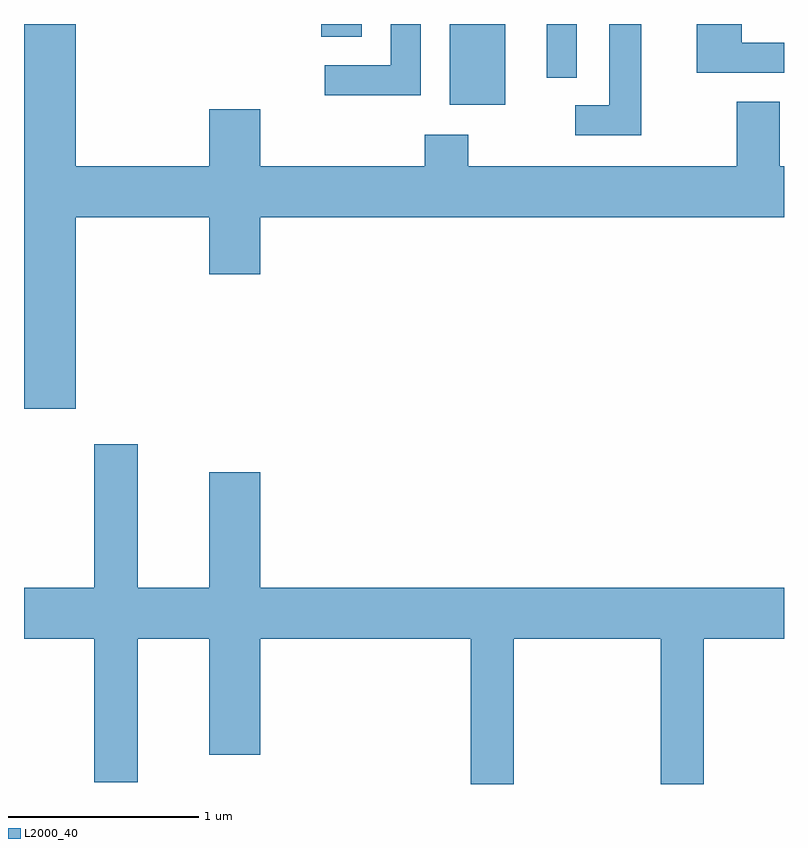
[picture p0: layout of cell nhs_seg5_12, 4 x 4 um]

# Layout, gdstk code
import gdstk
lib = gdstk.Library(unit=1e-6, precision=1e-09)
def R(c, l, rs):  # rectangles x0, y0, x1, y1
    for r in rs: c.add(gdstk.rectangle(r[:2], r[2:], *l))
def P(c, l, *ps):  # polygons
    for p in ps: c.add(gdstk.Polygon(p, *l))
L2000_40 = (2000, 40)

nhs_seg5_12 = lib.new_cell('nhs_seg5_12')
R(nhs_seg5_12, L2000_40, [(187.851,1419.646,188.144,1420.072), (188.361,1419.788,188.519,1420.072), (187.176,1420.006,187.389,1420.072)])
P(nhs_seg5_12, L2000_40, [(185.884,1419.056),(186.586,1419.056),(186.586,1418.756),(186.854,1418.756),(186.854,1419.056),(189.611,1419.056),(189.611,1419.324),(189.589,1419.324),(189.589,1419.664),(189.361,1419.664),(189.361,1419.324),(187.949,1419.324),(187.949,1419.489),(187.721,1419.489),(187.721,1419.324),(186.854,1419.324),(186.854,1419.624),(186.586,1419.624),(186.586,1419.324),(185.884,1419.324),(185.884,1420.072),(185.611,1420.072),(185.611,1418.046),(185.884,1418.046)],
  [(187.699,1420.072),(187.541,1420.072),(187.541,1419.854),(187.193,1419.854),(187.193,1419.696),(187.699,1419.696)],
  [(189.611,1419.974),(189.389,1419.974),(189.389,1420.072),(189.151,1420.072),(189.151,1419.816),(189.611,1419.816)],
  [(188.859,1420.072),(188.691,1420.072),(188.691,1419.644),(188.513,1419.644),(188.513,1419.486),(188.859,1419.486)],
  [(188.189,1416.836),(188.961,1416.836),(188.961,1416.072),(189.189,1416.072),(189.189,1416.836),(189.611,1416.836),(189.611,1417.104),(186.854,1417.104),(186.854,1417.714),(186.586,1417.714),(186.586,1417.104),(186.209,1417.104),(186.209,1417.859),(185.981,1417.859),(185.981,1417.104),(185.611,1417.104),(185.611,1416.836),(185.981,1416.836),(185.981,1416.081),(186.209,1416.081),(186.209,1416.836),(186.586,1416.836),(186.586,1416.226),(186.854,1416.226),(186.854,1416.836),(187.961,1416.836),(187.961,1416.072),(188.189,1416.072)])

lib.write_gds('nhs_seg5_12.gds')
